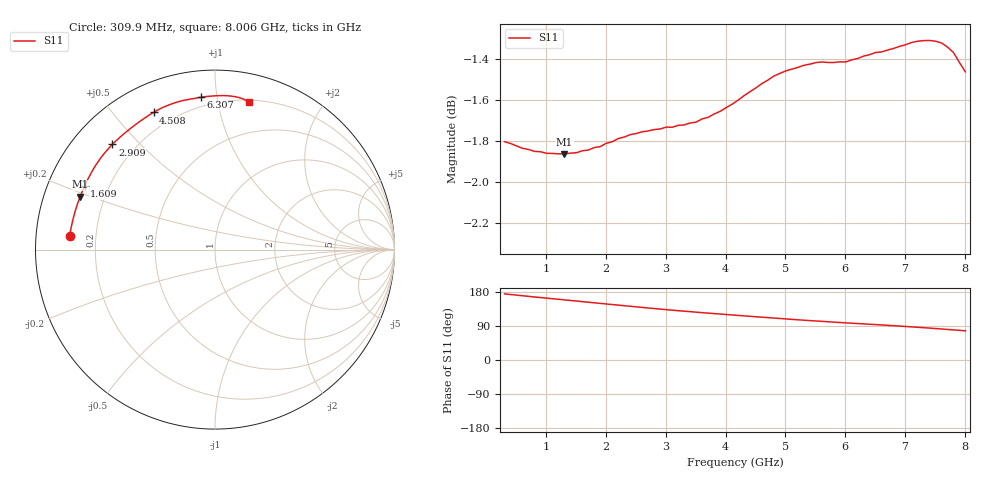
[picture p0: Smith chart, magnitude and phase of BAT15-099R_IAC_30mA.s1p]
! Infineon Technologies  Discrete & RF Semiconductors
! BAT15-099R
! IAC = 30 mA
! One-Port S-Parameters
# Hz  S  MA  R  50
!f  S11
!Hz  Mag  Ang
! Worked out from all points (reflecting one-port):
!   78 points, 309.9 MHz to 8.006 GHz, reference 50 ohm
!   lowest |S11| = -1.9 dB at 1.309 GHz (marker M1), VSWR 9.37, Z = 5.53 + j9.33 ohm
!   phase of S11 starts at 175 deg and turns -98 deg over the sweep
!   S11 on the Smith chart (normalised r, x): 309.9 MHz: 0.10, +0.05; 1.609 GHz: 0.11, +0.23; 2.909 GHz: 0.12, +0.42; 4.508 GHz: 0.13, +0.64; 6.307 GHz: 0.14, +0.90; 8.006 GHz: 0.21, +1.23
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3.0985e8  0.8126 174.6
4.098e8  0.8118 172.8
5.0975e8  0.8107 171.3
7.0965e8  0.8091 168.0
1.0095e9  0.8073 163.3
1.30935e9  0.8071 158.6
1.6092e9  0.8085 154.0
2.009e9  0.8119 147.8
2.30885e9  0.8147 143.2
2.6087e9  0.8171 138.8
2.70865e9  0.8175 137.2
2.90855e9  0.8184 134.3
3.2084e9  0.8201 130.1
3.6082e9  0.823 125.0
4.2079e9  0.8317 117.7
4.50775e9  0.8374 114.1
4.8076e9  0.843 110.7
5.2074e9  0.8471 106.1
5.50725e9  0.8494 103.0
6.007e9  0.8497 98.0
6.10695e9  0.8507 97.1
6.30685e9  0.8525 95.3
6.8066e9  0.8561 90.6
7.10645e9  0.859 87.4
7.4063e9  0.86 84.2
7.6062e9  0.8588 81.9
7.8061e9  0.8542 79.4
8.006e9  0.845 77.0
